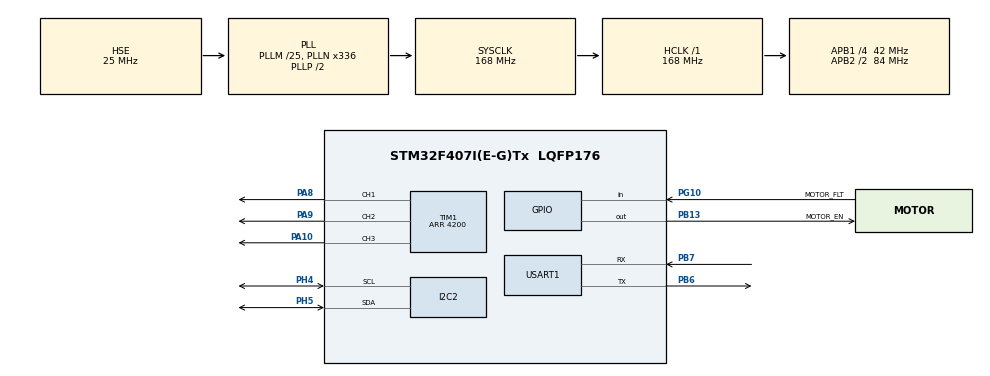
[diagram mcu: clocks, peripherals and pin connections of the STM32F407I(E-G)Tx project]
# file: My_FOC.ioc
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Mcu.Family=STM32F4
Mcu.Name=STM32F407I(E-G)Tx
Mcu.Package=LQFP176
NVIC.PriorityGroup=NVIC_PRIORITYGROUP_4
NVIC.TIM2_IRQn=true\:0\:0\:false\:false\:true\:true\:true\:true
PA10.Signal=S_TIM1_CH3
PA13.Mode=Serial_Wire
PA13.Signal=SYS_JTMS-SWDIO
PA14.Mode=Serial_Wire
PA14.Signal=SYS_JTCK-SWCLK
PA8.Signal=S_TIM1_CH1
PA9.Signal=S_TIM1_CH2
PB13.GPIO_Label=MOTOR_EN
PB13.Signal=GPIO_Output
PB6.Mode=Asynchronous
PB6.Signal=USART1_TX
PB7.Mode=Asynchronous
PB7.Signal=USART1_RX
PG10.GPIO_Label=MOTOR_FLT
PG10.GPIO_PuPd=GPIO_PULLUP
PG10.Signal=GPIO_Input
PH0-OSC_IN.Mode=HSE-External-Oscillator
PH0-OSC_IN.Signal=RCC_OSC_IN
PH1-OSC_OUT.Mode=HSE-External-Oscillator
PH1-OSC_OUT.Signal=RCC_OSC_OUT
PH4.Mode=I2C
PH4.Signal=I2C2_SCL
PH5.Mode=I2C
PH5.Signal=I2C2_SDA
ProjectManager.HeapSize=0x200
ProjectManager.StackSize=0x400
ProjectManager.TargetToolchain=CMake
RCC.48MHZClocksFreq_Value=84000000
RCC.AHBFreq_Value=168000000
RCC.APB1CLKDivider=RCC_HCLK_DIV4
RCC.APB1Freq_Value=42000000
RCC.APB1TimFreq_Value=84000000
RCC.APB2CLKDivider=RCC_HCLK_DIV2
RCC.APB2Freq_Value=84000000
RCC.APB2TimFreq_Value=168000000
RCC.CortexFreq_Value=168000000
RCC.HCLKFreq_Value=168000000
RCC.HSE_VALUE=25000000
RCC.HSI_VALUE=16000000
RCC.LSE_VALUE=32768
RCC.PLLM=25
RCC.PLLN=336
RCC.PLLSourceVirtual=RCC_PLLSOURCE_HSE
RCC.SYSCLKFreq_VALUE=168000000
RCC.SYSCLKSource=RCC_SYSCLKSOURCE_PLLCLK
RCC.VCOOutputFreq_Value=336000000
SH.S_TIM1_CH1.0=TIM1_CH1,PWM Generation1 CH1
SH.S_TIM1_CH2.0=TIM1_CH2,PWM Generation2 CH2
SH.S_TIM1_CH3.0=TIM1_CH3,PWM Generation3 CH3
TIM1.AutoReloadPreload=TIM_AUTORELOAD_PRELOAD_ENABLE
TIM1.Channel-PWM\ Generation1\ CH1=TIM_CHANNEL_1
TIM1.Channel-PWM\ Generation2\ CH2=TIM_CHANNEL_2
TIM1.Channel-PWM\ Generation3\ CH3=TIM_CHANNEL_3
TIM1.CounterMode=TIM_COUNTERMODE_CENTERALIGNED1
TIM1.Period=4200
TIM2.Period=1-1
TIM2.Prescaler=84-1
USART1.VirtualMode=VM_ASYNC
VP_TIM1_VS_ClockSourceINT.Mode=Internal
VP_TIM2_VS_ClockSourceINT.Mode=Internal
board=custom

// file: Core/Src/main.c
/* USER CODE BEGIN Header */
/**
  ******************************************************************************
  * @file           : main.c
  * @brief          : Main program body
  ******************************************************************************
  * @attention
  *
  * Copyright (c) 2026 STMicroelectronics.
  * All rights reserved.
  *
  * This software is licensed under terms that can be found in the LICENSE file
  * in the root directory of this software component.
  * If no LICENSE file comes with this software, it is provided AS-IS.
  *
  ******************************************************************************
  */
/* USER CODE END Header */
#include "main.h"
#include "i2c.h"
#include "tim.h"
#include "usart.h"
#include "gpio.h"

/* USER CODE BEGIN Includes */
#include "as5600.h"
#include "motor.h"
/* USER CODE END Includes */

/* USER CODE BEGIN PV */
volatile HAL_StatusTypeDef as5600_result = HAL_ERROR;
volatile uint16_t as5600_raw = 0;
/* USER CODE END PV */

void SystemClock_Config(void);

int main(void)
{

  /* USER CODE BEGIN 1 */
  volatile float FOC_ThetaStart = 0.0f;
  volatile float FOC_ThetaEnd = 0.0f;
  /* USER CODE END 1 */

  /* MCU Configuration--------------------------------------------------------*/

  /* Reset of all peripherals, Initializes the Flash interface and the Systick. */
  HAL_Init();

  /* Configure the system clock */
  SystemClock_Config();

  /* Initialize all configured peripherals */
  MX_GPIO_Init();
  MX_I2C2_Init();
  MX_USART1_UART_Init();
  MX_TIM1_Init();
  MX_TIM2_Init();
  /* USER CODE BEGIN 2 */
  HAL_TIM_Base_Start_IT(&htim2);

  /* 初始化电机及电角度校准 */
  Motor_Init();

  /* 只有电角度校准成功，才允许启动电机 */
  if (Motor_Electric_Calibrated == 1U)
  {
    /* 获取校准结束后的初始电角度 */
    float theta_e = Motor_GetElectricAngle_Rad();
    FOC_ThetaStart = theta_e;

    /* 设置零参考电压 */
    Motor_SetPhaseVoltage_dq_SVPWM(0.0f, 0.0f, theta_e, 12.0f);

    Motor_Enable();

    uint32_t start_time = HAL_GetTick();

    while ((uint32_t)(HAL_GetTick() - start_time) < 5000U)
    {

      /* 获取实时电角度 */
      theta_e = Motor_GetElectricAngle_Rad();

      /* 记录当前电角度 */
      FOC_ThetaEnd = theta_e;

      /* 施加q轴参考电压 */
      Motor_SetPhaseVoltage_dq_SVPWM(0.0f, 0.3f, theta_e, 12.0f);

      HAL_Delay(2U);
    }
    /* 实验结束，关闭驱动 */
    Motor_Disable();
    Motor_SetPhaseVoltage_dq_SVPWM(0.0f, 0.0f, 0.0f, 12.0f);
  }
  /* USER CODE END 2 */

  /* Infinite loop */
  /* USER CODE BEGIN WHILE */
    while (1)
    {

      HAL_Delay(100U);
    /* USER CODE END WHILE */

    }
}

void SystemClock_Config(void)
{
  RCC_OscInitTypeDef RCC_OscInitStruct = {0};
  RCC_ClkInitTypeDef RCC_ClkInitStruct = {0};

  /** Configure the main internal regulator output voltage
  */
  __HAL_RCC_PWR_CLK_ENABLE();
  __HAL_PWR_VOLTAGESCALING_CONFIG(PWR_REGULATOR_VOLTAGE_SCALE1);

  /** Initializes the RCC Oscillators according to the specified parameters
  * in the RCC_OscInitTypeDef structure.
  */
  RCC_OscInitStruct.OscillatorType = RCC_OSCILLATORTYPE_HSE;
  RCC_OscInitStruct.HSEState = RCC_HSE_ON;
  RCC_OscInitStruct.PLL.PLLState = RCC_PLL_ON;
  RCC_OscInitStruct.PLL.PLLSource = RCC_PLLSOURCE_HSE;
  RCC_OscInitStruct.PLL.PLLM = 25;
  RCC_OscInitStruct.PLL.PLLN = 336;
  RCC_OscInitStruct.PLL.PLLP = RCC_PLLP_DIV2;
  RCC_OscInitStruct.PLL.PLLQ = 4;
  if (HAL_RCC_OscConfig(&RCC_OscInitStruct) != HAL_OK)
  {
    Error_Handler();
  }

  /** Initializes the CPU, AHB and APB buses clocks
  */
  RCC_ClkInitStruct.ClockType = RCC_CLOCKTYPE_HCLK|RCC_CLOCKTYPE_SYSCLK
                              |RCC_CLOCKTYPE_PCLK1|RCC_CLOCKTYPE_PCLK2;
  RCC_ClkInitStruct.SYSCLKSource = RCC_SYSCLKSOURCE_PLLCLK;
  RCC_ClkInitStruct.AHBCLKDivider = RCC_SYSCLK_DIV1;
  RCC_ClkInitStruct.APB1CLKDivider = RCC_HCLK_DIV4;
  RCC_ClkInitStruct.APB2CLKDivider = RCC_HCLK_DIV2;

  if (HAL_RCC_ClockConfig(&RCC_ClkInitStruct, FLASH_LATENCY_5) != HAL_OK)
  {
    Error_Handler();
  }
}

/* USER CODE BEGIN 4 */
void HAL_TIM_PeriodElapsedCallback(TIM_HandleTypeDef *htim)
{
  if(htim->Instance == TIM2)
  {

  }
}
/* USER CODE END 4 */

void Error_Handler(void)
{
  __disable_irq();
  while (1)
  {
  }
}
